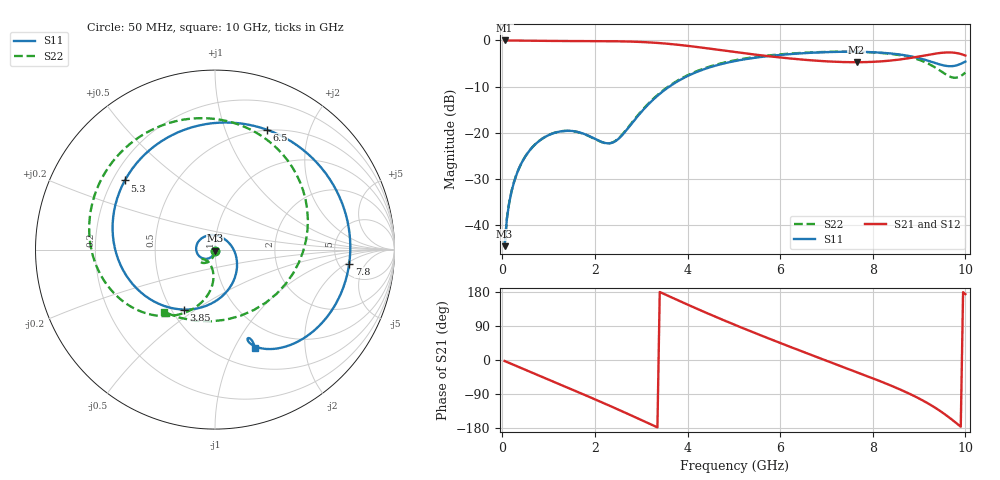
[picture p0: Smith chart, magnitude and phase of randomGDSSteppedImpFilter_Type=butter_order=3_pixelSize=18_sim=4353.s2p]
! freq	dB(S11)	phase(S11)	dB(S12)	phase(S12)
!  dB(S21)	phase(S21)	dB(S22)	phase(S22)
!S-par simulation data
#  GHz  S  DB  R 50
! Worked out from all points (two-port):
!   200 points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, 50 MHz to 10 GHz, reference 50 ohm
!   highest |S21| = 0.00 dB at 50 MHz (marker M1); lowest = -4.7 dB at 7.65 GHz (marker M2)
!   |S21| within 3 dB of the highest: start of sweep to 5.413 GHz; 9.257 GHz to 9.925 GHz (668.2 MHz wide, 6.97 % of centre)
!   lowest |S11| = -44.5 dB at 50 MHz (marker M3), VSWR 1.01, Z = 50 - j0.596 ohm
!   |S11| at or under -10 dB: start of sweep to 3.604 GHz
!   |S22| runs from -44.3 to -2.4 dB; largest |S21 - S12| = 0
!   S11 on the Smith chart (normalised r, x): 50 MHz: 1.00, -0.01; 3.85 GHz: 0.58, -0.45; 5.3 GHz: 0.25, +0.32; 6.5 GHz: 0.49, +1.40; 7.8 GHz: 6.22, -2.26; 10 GHz: 0.72, -1.21
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0.05  -44.48 -92.5  -0.00 -2.6  -0.00 -2.6  -44.35 -90.4
0.2  -32.63 -102.5  -0.02 -10.5  -0.02 -10.5  -32.56 -97.4
0.55  -24.31 -126.2  -0.05 -28.6  -0.05 -28.6  -24.29 -111.8
1.2  -19.79 -171.4  -0.12 -62.1  -0.12 -62.1  -19.76 -134.5
1.75  -20.15 142.3  -0.15 -90.6  -0.15 -90.6  -20.18 -145.1
2.4  -22.00 45.5  -0.18 -125.1  -0.18 -125.1  -21.96 -116.4
2.9  -16.67 -33.1  -0.29 -152.6  -0.29 -152.6  -16.50 -93.3
3.4  -11.55 -81.9  -0.57 179.4  -0.57 179.4  -11.38 -100.5
3.85  -8.48 -117.5  -1.00 154.4  -1.00 154.4  -8.31 -114.8
4.45  -5.91 -160.6  -1.73 122.1  -1.73 122.1  -5.74 -136.1
5.05  -4.40 158.9  -2.54 91.3  -2.54 91.3  -4.24 -156.9
5.3  -3.97 142.5  -2.86 78.9  -2.86 78.9  -3.81 -165.2
5.95  -3.18 100.7  -3.63 47.4  -3.63 47.4  -3.05 173.7
6.5  -2.76 66.7  -4.16 21.4  -4.16 21.4  -2.67 156.1
6.7  -2.65 54.7  -4.32 12.1  -4.32 12.1  -2.58 149.5
7.65  -2.45 1.7  -4.71 -31.8  -4.71 -31.8  -2.46 115.9
7.8  -2.48 -6.0  -4.69 -38.8  -4.69 -38.8  -2.50 109.9
8.35  -2.78 -32.5  -4.39 -65.3  -4.39 -65.3  -2.86 84.9
8.85  -3.49 -53.8  -3.73 -92.4  -3.73 -92.4  -3.73 54.5
9.35  -4.88 -68.7  -2.85 -126.1  -2.85 -126.1  -5.86 5.6
9.75  -5.52 -68.8  -2.65 -161.2  -2.65 -161.2  -8.06 -68.9
10  -4.57 -68.0  -3.27 173.8  -3.27 173.8  -6.95 -129.5
